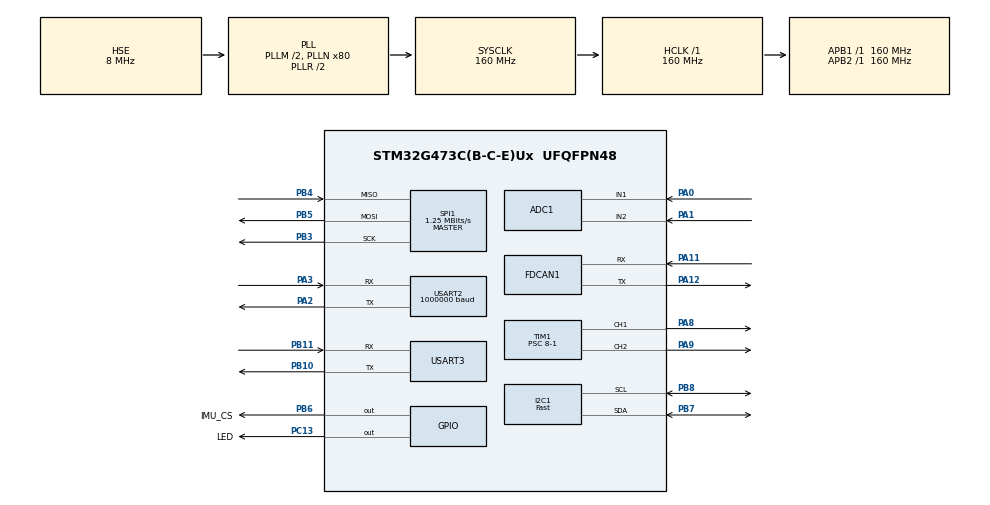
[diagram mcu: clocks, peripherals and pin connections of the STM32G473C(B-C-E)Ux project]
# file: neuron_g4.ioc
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ADC1.Channel-0\#ChannelRegularConversion=ADC_CHANNEL_1
ADC1.NbrOfConversionFlag=1
ADC1.OffsetNumber-0\#ChannelRegularConversion=ADC_OFFSET_NONE
ADC1.Rank-0\#ChannelRegularConversion=1
ADC1.SamplingTime-0\#ChannelRegularConversion=ADC_SAMPLETIME_2CYCLES_5
ADC1.master=1
Dma.Request0=USART2_RX
Dma.USART2_RX.0.Direction=DMA_PERIPH_TO_MEMORY
Dma.USART2_RX.0.EventEnable=DISABLE
Dma.USART2_RX.0.Instance=DMA1_Channel1
Dma.USART2_RX.0.MemDataAlignment=DMA_MDATAALIGN_BYTE
Dma.USART2_RX.0.MemInc=DMA_MINC_ENABLE
Dma.USART2_RX.0.Mode=DMA_CIRCULAR
Dma.USART2_RX.0.PeriphDataAlignment=DMA_PDATAALIGN_BYTE
Dma.USART2_RX.0.PeriphInc=DMA_PINC_DISABLE
Dma.USART2_RX.0.Polarity=HAL_DMAMUX_REQ_GEN_RISING
Dma.USART2_RX.0.Priority=DMA_PRIORITY_VERY_HIGH
Dma.USART2_RX.0.RequestNumber=1
Dma.USART2_RX.0.SignalID=NONE
Dma.USART2_RX.0.SyncEnable=DISABLE
Dma.USART2_RX.0.SyncPolarity=HAL_DMAMUX_SYNC_NO_EVENT
Dma.USART2_RX.0.SyncRequestNumber=1
Dma.USART2_RX.0.SyncSignalID=NONE
FDCAN1.AutoRetransmission=ENABLE
FDCAN1.DataSyncJumpWidth=2
FDCAN1.DataTimeSeg1=7
FDCAN1.DataTimeSeg2=2
FDCAN1.FrameFormat=FDCAN_FRAME_FD_BRS
FDCAN1.NominalSyncJumpWidth=16
FDCAN1.NominalTimeSeg1=63
FDCAN1.NominalTimeSeg2=16
FDCAN1.StdFiltersNbr=2
FREERTOS.BinarySemaphores01=coreTaskSem,Dynamic,NULL;canTxSem,Dynamic,NULL
FREERTOS.MEMORY_ALLOCATION=2
FREERTOS.Mutexes01=servoMutex,Dynamic,NULL
FREERTOS.Tasks01=idleTask,-3,128,idleTaskCallback,Default,NULL,Dynamic,NULL,NULL;servoTask,2,512,servoTaskCallback,Default,NULL,Dynamic,NULL,NULL;coreTask,3,256,coreTaskCallback,Default,NULL,Dynamic,NULL,NULL;canRxTask,3,256,canRxCallback,As weak,NULL,Dynamic,NULL,NULL;canTxTask,1,128,canTxCallback,Default,NULL,Dynamic,NULL,NULL
FREERTOS.Timers01=coreTimer,coreEvokeCallback,osTimerPeriodic,Default,NULL,Dynamic,NULL
FREERTOS.configTIMER_TASK_PRIORITY=6
FREERTOS.configTOTAL_HEAP_SIZE=15360
FREERTOS.configUSE_TIMERS=1
I2C1.I2C_Fall_Time=100
I2C1.I2C_Rise_Time=250
I2C1.I2C_Speed_Mode=I2C_Fast
I2C1.Timing=0x30D2153A
Mcu.Family=STM32G4
Mcu.Name=STM32G473C(B-C-E)Ux
Mcu.Package=UFQFPN48
NVIC.DMA1_Channel1_IRQn=true\:5\:0\:false\:false\:true\:true\:false\:true
NVIC.FDCAN1_IT0_IRQn=true\:5\:0\:false\:false\:true\:true\:true\:true
NVIC.PriorityGroup=NVIC_PRIORITYGROUP_4
NVIC.TIM8_UP_IRQn=true\:15\:0\:false\:false\:true\:false\:false\:true
NVIC.TimeBase=TIM8_UP_IRQn
NVIC.TimeBaseIP=TIM8
PA0.Mode=IN1-Single-Ended
PA0.Signal=ADC1_IN1
PA1.Mode=IN2-Single-Ended
PA1.Signal=ADC1_IN2
PA11.Mode=FDCAN_Activate
PA11.Signal=FDCAN1_RX
PA12.Mode=FDCAN_Activate
PA12.Signal=FDCAN1_TX
PA13.Mode=Serial_Wire
PA13.Signal=SYS_JTMS-SWDIO
PA14.Mode=Serial_Wire
PA14.Signal=SYS_JTCK-SWCLK
PA2.Mode=Asynchronous
PA2.Signal=USART2_TX
PA3.Mode=Asynchronous
PA3.Signal=USART2_RX
PA8.Signal=S_TIM1_CH1
PA9.Signal=S_TIM1_CH2
PB10.Mode=Asynchronous
PB10.Signal=USART3_TX
PB11.Mode=Asynchronous
PB11.Signal=USART3_RX
PB3.GPIO_Speed=GPIO_SPEED_FREQ_HIGH
PB3.Mode=Full_Duplex_Master
PB3.Signal=SPI1_SCK
PB4.GPIO_Speed=GPIO_SPEED_FREQ_HIGH
PB4.Mode=Full_Duplex_Master
PB4.Signal=SPI1_MISO
PB5.GPIO_Speed=GPIO_SPEED_FREQ_HIGH
PB5.Mode=Full_Duplex_Master
PB5.Signal=SPI1_MOSI
PB6.GPIO_Label=IMU_CS
PB6.GPIO_Speed=GPIO_SPEED_FREQ_HIGH
PB6.Signal=GPIO_Output
PB7.GPIO_Pu=GPIO_PULLUP
PB7.Mode=I2C
PB7.Signal=I2C1_SDA
PB8-BOOT0.GPIO_Pu=GPIO_PULLUP
PB8-BOOT0.Mode=I2C
PB8-BOOT0.Signal=I2C1_SCL
PC13.GPIO_Label=LED
PC13.Signal=GPIO_Output
PF0-OSC_IN.Mode=HSE-External-Oscillator
PF0-OSC_IN.Signal=RCC_OSC_IN
PF1-OSC_OUT.Mode=HSE-External-Oscillator
PF1-OSC_OUT.Signal=RCC_OSC_OUT
ProjectManager.HeapSize=0x200
ProjectManager.StackSize=0x400
ProjectManager.TargetToolchain=STM32CubeIDE
RCC.ADC12Freq_Value=160000000
RCC.ADC345Freq_Value=160000000
RCC.AHBFreq_Value=160000000
RCC.APB1Freq_Value=160000000
RCC.APB1TimFreq_Value=160000000
RCC.APB2Freq_Value=160000000
RCC.APB2TimFreq_Value=160000000
RCC.CortexFreq_Value=160000000
RCC.EXTERNAL_CLOCK_VALUE=12288000
RCC.FDCANCLockSelection=RCC_FDCANCLKSOURCE_PLL
RCC.HCLKFreq_Value=160000000
RCC.HSE_VALUE=8000000
RCC.HSI48_VALUE=48000000
RCC.HSI_VALUE=16000000
RCC.LSE_VALUE=32768
RCC.PLLM=RCC_PLLM_DIV2
RCC.PLLN=80
RCC.PLLQ=RCC_PLLQ_DIV4
RCC.PLLSourceVirtual=RCC_PLLSOURCE_HSE
RCC.SYSCLKFreq_VALUE=160000000
RCC.SYSCLKSource=RCC_SYSCLKSOURCE_PLLCLK
RCC.USBFreq_Value=80000000
RCC.VCOOutputFreq_Value=320000000
SH.S_TIM1_CH1.0=TIM1_CH1,PWM Generation1 CH1
SH.S_TIM1_CH2.0=TIM1_CH2,PWM Generation2 CH2
SPI1.BaudRatePrescaler=SPI_BAUDRATEPRESCALER_128
SPI1.CalculateBaudRate=1.25 MBits/s
SPI1.DataSize=SPI_DATASIZE_8BIT
SPI1.Direction=SPI_DIRECTION_2LINES
SPI1.Mode=SPI_MODE_MASTER
SPI1.VirtualType=VM_MASTER
TIM1.Channel-PWM\ Generation1\ CH1=TIM_CHANNEL_1
TIM1.Channel-PWM\ Generation2\ CH2=TIM_CHANNEL_2
TIM1.PeriodNoDither=40000-1
TIM1.Prescaler=8-1
TIM1.PulseNoDither_1=20000
TIM1.PulseNoDither_2=20000
USART2.BaudRate=1000000
USART2.VirtualMode-Asynchronous=VM_ASYNC
USART3.VirtualMode-Asynchronous=VM_ASYNC
VP_FREERTOS_VS_CMSIS_V1.Mode=CMSIS_V1
VP_SYS_VS_DBSignals.Mode=DisableDeadBatterySignals
VP_SYS_VS_tim8.Mode=TIM8
VP_TIM1_VS_ClockSourceINT.Mode=Internal
board=custom

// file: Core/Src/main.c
/* USER CODE BEGIN Header */
/**
  ******************************************************************************
  * @file           : main.c
  * @brief          : Main program body
  ******************************************************************************
  * @attention
  *
  * Copyright (c) 2023 STMicroelectronics.
  * All rights reserved.
  *
  * This software is licensed under terms that can be found in the LICENSE file
  * in the root directory of this software component.
  * If no LICENSE file comes with this software, it is provided AS-IS.
  *
  ******************************************************************************
  */
/* USER CODE END Header */
#include "main.h"
#include "cmsis_os.h"

/* USER CODE BEGIN Includes */
#include "CAN/can_device_manager.h"
#include "Flashmemory/flashmemory.h"
#include "IMU/imu_mpu9250.h"
#include "Initializer/initializer.h"
#include "Motor/motor.h"
#include "Servo/servo.h"
/* USER CODE END Includes */

ADC_HandleTypeDef hadc1;

FDCAN_HandleTypeDef hfdcan1;

I2C_HandleTypeDef hi2c1;

SPI_HandleTypeDef hspi1;

TIM_HandleTypeDef htim1;

UART_HandleTypeDef huart2;
UART_HandleTypeDef huart3;
DMA_HandleTypeDef hdma_usart2_rx;

osThreadId idleTaskHandle;
osThreadId servoTaskHandle;
osThreadId coreTaskHandle;
osThreadId canRxTaskHandle;
osThreadId canTxTaskHandle;
osTimerId coreTimerHandle;
osMutexId servoMutexHandle;
osSemaphoreId coreTaskSemHandle;
osSemaphoreId canTxSemHandle;
/* USER CODE BEGIN PV */
osMailQId canMsgMailHandle;

IMU imu_;
Motor motor_;
Servo servo_;
Initializer* initializer_ = nullptr;
/* Set by coreTask every 1000 / servo_feedback_frequency ms; IMU/rotor states
   follow it independently of whether any servo is connected. */
volatile bool core_feedback_due_ = false;
uint16_t core_feedback_count_ = 0;
/* USER CODE END PV */

void SystemClock_Config(void);
static void MX_GPIO_Init(void);
static void MX_DMA_Init(void);
static void MX_ADC1_Init(void);
static void MX_FDCAN1_Init(void);
static void MX_I2C1_Init(void);
static void MX_SPI1_Init(void);
static void MX_USART2_UART_Init(void);
static void MX_USART3_UART_Init(void);
static void MX_TIM1_Init(void);
void idleTaskCallback(void const * argument);
void servoTaskCallback(void const * argument);
void coreTaskCallback(void const * argument);
void canRxCallback(void const * argument);
void canTxCallback(void const * argument);
void coreEvokeCallback(void const * argument);

int main(void)
{

  /* MCU Configuration--------------------------------------------------------*/

  /* Reset of all peripherals, Initializes the Flash interface and the Systick. */
  HAL_Init();

  /* Configure the system clock */
  SystemClock_Config();

  /* Initialize all configured peripherals */
  MX_GPIO_Init();
  MX_DMA_Init();
  MX_ADC1_Init();
  MX_FDCAN1_Init();
  MX_I2C1_Init();
  MX_SPI1_Init();
  MX_USART2_UART_Init();
  MX_USART3_UART_Init();
  MX_TIM1_Init();
  /* USER CODE BEGIN 2 */
  HAL_NVIC_DisableIRQ(DMA1_Channel1_IRQn);
  Flashmemory::init(0x0807F000, FLASH_BANK_1, 127); //last page in bank1

  // flashmemory test
#if 0
#if 0 // write
  uint8_t test[10];
  for(int i = 0; i < 10; i++) {
    test[i] = i;
  }
  Flashmemory::addValue(test, 10);

  float a = -3.1415926f;
  Flashmemory::addValue(&a, 4);

  int16_t b = 12345;
  Flashmemory::addValue(&b, 2);

  bool c = false;
  Flashmemory::addValue(&c, 1);

  Flashmemory::erase();
  Flashmemory::write();
#else // read

  uint8_t test[10];
  Flashmemory::addValue(test, 10);

  float a;
  Flashmemory::addValue(&a, 4);

  int16_t b;
  Flashmemory::addValue(&b, 2);

  bool c;
  Flashmemory::addValue(&c, 1);

  Flashmemory::read();

#endif
#endif

  uint16_t slave_id = 0;
  Flashmemory::addValue(&slave_id, 2);
  /* workaround to definitely read the value for salve_id from flashmemory, because some problem in RTOS system in init system (because of std::vector?) */
  int cnt = 10; // In fact, only need twice, 10 times is just in case.
  while(cnt > 0)
    {
      HAL_StatusTypeDef status = Flashmemory::read();
      if(status == HAL_OK) break;
      cnt --;
    }

  if (slave_id == 0 || slave_id > 14) {
    slave_id = 1;
    Flashmemory::erase();
    Flashmemory::write();
    return 0;
  }

  motor_ = Motor(slave_id);
  imu_ = IMU(slave_id);
  servo_ = Servo(slave_id);

  Initializer initializer(slave_id, servo_, imu_, motor_);
  initializer_ = &initializer;

  imu_.init(&hspi1);
  motor_.init(&htim1);
  HAL_Delay(300); //wait servo init
  servo_.init(&huart2, &hi2c1, &servoMutexHandle);

  CANDeviceManager::init(&hfdcan1, slave_id, GPIOC, GPIO_PIN_13);
  CANDeviceManager::addDevice(&motor_);
  CANDeviceManager::addDevice(&imu_);
  CANDeviceManager::addDevice(&servo_);
  CANDeviceManager::addDevice(&initializer);

  /* USER CODE END 2 */

  /* Create the mutex(es) */
  /* definition and creation of servoMutex */
  osMutexDef(servoMutex);
  servoMutexHandle = osMutexCreate(osMutex(servoMutex));

  /* Create the semaphores(s) */
  /* definition and creation of coreTaskSem */
  osSemaphoreDef(coreTaskSem);
  coreTaskSemHandle = osSemaphoreCreate(osSemaphore(coreTaskSem), 1);

  /* definition and creation of canTxSem */
  osSemaphoreDef(canTxSem);
  canTxSemHandle = osSemaphoreCreate(osSemaphore(canTxSem), 1);

  /* Create the timer(s) */
  /* definition and creation of coreTimer */
  osTimerDef(coreTimer, coreEvokeCallback);
  coreTimerHandle = osTimerCreate(osTimer(coreTimer), osTimerPeriodic, NULL);

  /* USER CODE BEGIN RTOS_TIMERS */
  /* start timers, add new ones, ... */
  osTimerStart(coreTimerHandle, 1); // 1 ms (1kHz)
  /* USER CODE END RTOS_TIMERS */

  /* USER CODE BEGIN RTOS_QUEUES */
  /* add queues, ... */
  /* add mail queue for CAN RX */
  osMailQDef(CanMail, 20, can_msg); // this is for the margin set for spinal: initializer sendBoardConfig (4 servo: 1 + 4 x 3 = 13 packets -> 20)
  canMsgMailHandle = osMailCreate(osMailQ(CanMail), NULL);
  CANDeviceManager::useRTOS(&canMsgMailHandle);
  /* USER CODE END RTOS_QUEUES */

  /* Create the thread(s) */
  /* definition and creation of idleTask */
  osThreadDef(idleTask, idleTaskCallback, osPriorityIdle, 0, 128);
  idleTaskHandle = osThreadCreate(osThread(idleTask), NULL);

  /* definition and creation of servoTask */
  osThreadDef(servoTask, servoTaskCallback, osPriorityHigh, 0, 512);
  servoTaskHandle = osThreadCreate(osThread(servoTask), NULL);

  /* definition and creation of coreTask */
  osThreadDef(coreTask, coreTaskCallback, osPriorityRealtime, 0, 256);
  coreTaskHandle = osThreadCreate(osThread(coreTask), NULL);

  /* definition and creation of canRxTask */
  osThreadDef(canRxTask, canRxCallback, osPriorityRealtime, 0, 256);
  canRxTaskHandle = osThreadCreate(osThread(canRxTask), NULL);

  /* definition and creation of canTxTask */
  osThreadDef(canTxTask, canTxCallback, osPriorityAboveNormal, 0, 128);
  canTxTaskHandle = osThreadCreate(osThread(canTxTask), NULL);

  /* Start scheduler */
  osKernelStart();

  /* We should never get here as control is now taken by the scheduler */
  /* Infinite loop */
  while (1)
  {

    /* USER CODE BEGIN 3 */
     HAL_Delay(1000);
     HAL_GPIO_TogglePin(LED_GPIO_Port, LED_Pin);
  }
  /* USER CODE END 3 */
}

void SystemClock_Config(void)
{
  RCC_OscInitTypeDef RCC_OscInitStruct = {0};
  RCC_ClkInitTypeDef RCC_ClkInitStruct = {0};

  /** Configure the main internal regulator output voltage
  */
  HAL_PWREx_ControlVoltageScaling(PWR_REGULATOR_VOLTAGE_SCALE1_BOOST);
  /** Initializes the RCC Oscillators according to the specified parameters
  * in the RCC_OscInitTypeDef structure.
  */
  RCC_OscInitStruct.OscillatorType = RCC_OSCILLATORTYPE_HSE;
  RCC_OscInitStruct.HSEState = RCC_HSE_ON;
  RCC_OscInitStruct.PLL.PLLState = RCC_PLL_ON;
  RCC_OscInitStruct.PLL.PLLSource = RCC_PLLSOURCE_HSE;
  RCC_OscInitStruct.PLL.PLLM = RCC_PLLM_DIV2;
  RCC_OscInitStruct.PLL.PLLN = 80;
  RCC_OscInitStruct.PLL.PLLP = RCC_PLLP_DIV2;
  RCC_OscInitStruct.PLL.PLLQ = RCC_PLLQ_DIV4;
  RCC_OscInitStruct.PLL.PLLR = RCC_PLLR_DIV2;
  if (HAL_RCC_OscConfig(&RCC_OscInitStruct) != HAL_OK)
  {
    Error_Handler();
  }
  /** Initializes the CPU, AHB and APB buses clocks
  */
  RCC_ClkInitStruct.ClockType = RCC_CLOCKTYPE_HCLK|RCC_CLOCKTYPE_SYSCLK
                              |RCC_CLOCKTYPE_PCLK1|RCC_CLOCKTYPE_PCLK2;
  RCC_ClkInitStruct.SYSCLKSource = RCC_SYSCLKSOURCE_PLLCLK;
  RCC_ClkInitStruct.AHBCLKDivider = RCC_SYSCLK_DIV1;
  RCC_ClkInitStruct.APB1CLKDivider = RCC_HCLK_DIV1;
  RCC_ClkInitStruct.APB2CLKDivider = RCC_HCLK_DIV1;

  if (HAL_RCC_ClockConfig(&RCC_ClkInitStruct, FLASH_LATENCY_4) != HAL_OK)
  {
    Error_Handler();
  }
}

static void MX_ADC1_Init(void)
{

  ADC_MultiModeTypeDef multimode = {0};
  ADC_ChannelConfTypeDef sConfig = {0};

  /** Common config
  */
  hadc1.Instance = ADC1;
  hadc1.Init.ClockPrescaler = ADC_CLOCK_SYNC_PCLK_DIV4;
  hadc1.Init.Resolution = ADC_RESOLUTION_12B;
  hadc1.Init.DataAlign = ADC_DATAALIGN_RIGHT;
  hadc1.Init.GainCompensation = 0;
  hadc1.Init.ScanConvMode = ADC_SCAN_DISABLE;
  hadc1.Init.EOCSelection = ADC_EOC_SINGLE_CONV;
  hadc1.Init.LowPowerAutoWait = DISABLE;
  hadc1.Init.ContinuousConvMode = DISABLE;
  hadc1.Init.NbrOfConversion = 1;
  hadc1.Init.DiscontinuousConvMode = DISABLE;
  hadc1.Init.ExternalTrigConv = ADC_SOFTWARE_START;
  hadc1.Init.ExternalTrigConvEdge = ADC_EXTERNALTRIGCONVEDGE_NONE;
  hadc1.Init.DMAContinuousRequests = DISABLE;
  hadc1.Init.Overrun = ADC_OVR_DATA_PRESERVED;
  hadc1.Init.OversamplingMode = DISABLE;
  if (HAL_ADC_Init(&hadc1) != HAL_OK)
  {
    Error_Handler();
  }
  /** Configure the ADC multi-mode
  */
  multimode.Mode = ADC_MODE_INDEPENDENT;
  if (HAL_ADCEx_MultiModeConfigChannel(&hadc1, &multimode) != HAL_OK)
  {
    Error_Handler();
  }
  /** Configure Regular Channel
  */
  sConfig.Channel = ADC_CHANNEL_1;
  sConfig.Rank = ADC_REGULAR_RANK_1;
  sConfig.SamplingTime = ADC_SAMPLETIME_2CYCLES_5;
  sConfig.SingleDiff = ADC_SINGLE_ENDED;
  sConfig.OffsetNumber = ADC_OFFSET_NONE;
  sConfig.Offset = 0;
  if (HAL_ADC_ConfigChannel(&hadc1, &sConfig) != HAL_OK)
  {
    Error_Handler();
  }

}

static void MX_FDCAN1_Init(void)
{

  hfdcan1.Instance = FDCAN1;
  hfdcan1.Init.ClockDivider = FDCAN_CLOCK_DIV1;
  hfdcan1.Init.FrameFormat = FDCAN_FRAME_FD_BRS;
  hfdcan1.Init.Mode = FDCAN_MODE_NORMAL;
  hfdcan1.Init.AutoRetransmission = ENABLE;
  hfdcan1.Init.TransmitPause = DISABLE;
  hfdcan1.Init.ProtocolException = DISABLE;
  hfdcan1.Init.NominalPrescaler = 1;
  hfdcan1.Init.NominalSyncJumpWidth = 16;
  hfdcan1.Init.NominalTimeSeg1 = 63;
  hfdcan1.Init.NominalTimeSeg2 = 16;
  hfdcan1.Init.DataPrescaler = 1;
  hfdcan1.Init.DataSyncJumpWidth = 2;
  hfdcan1.Init.DataTimeSeg1 = 7;
  hfdcan1.Init.DataTimeSeg2 = 2;
  hfdcan1.Init.StdFiltersNbr = 2;
  hfdcan1.Init.ExtFiltersNbr = 0;
  hfdcan1.Init.TxFifoQueueMode = FDCAN_TX_FIFO_OPERATION;
  if (HAL_FDCAN_Init(&hfdcan1) != HAL_OK)
  {
    Error_Handler();
  }

}

static void MX_I2C1_Init(void)
{

  hi2c1.Instance = I2C1;
  hi2c1.Init.Timing = 0x30D2153A;
  hi2c1.Init.OwnAddress1 = 0;
  hi2c1.Init.AddressingMode = I2C_ADDRESSINGMODE_7BIT;
  hi2c1.Init.DualAddressMode = I2C_DUALADDRESS_DISABLE;
  hi2c1.Init.OwnAddress2 = 0;
  hi2c1.Init.OwnAddress2Masks = I2C_OA2_NOMASK;
  hi2c1.Init.GeneralCallMode = I2C_GENERALCALL_DISABLE;
  hi2c1.Init.NoStretchMode = I2C_NOSTRETCH_DISABLE;
  if (HAL_I2C_Init(&hi2c1) != HAL_OK)
  {
    Error_Handler();
  }
  /** Configure Analogue filter
  */
  if (HAL_I2CEx_ConfigAnalogFilter(&hi2c1, I2C_ANALOGFILTER_ENABLE) != HAL_OK)
  {
    Error_Handler();
  }
  /** Configure Digital filter
  */
  if (HAL_I2CEx_ConfigDigitalFilter(&hi2c1, 0) != HAL_OK)
  {
    Error_Handler();
  }

}

static void MX_SPI1_Init(void)
{

  /* SPI1 parameter configuration*/
  hspi1.Instance = SPI1;
  hspi1.Init.Mode = SPI_MODE_MASTER;
  hspi1.Init.Direction = SPI_DIRECTION_2LINES;
  hspi1.Init.DataSize = SPI_DATASIZE_8BIT;
  hspi1.Init.CLKPolarity = SPI_POLARITY_LOW;
  hspi1.Init.CLKPhase = SPI_PHASE_1EDGE;
  hspi1.Init.NSS = SPI_NSS_SOFT;
  hspi1.Init.BaudRatePrescaler = SPI_BAUDRATEPRESCALER_128;
  hspi1.Init.FirstBit = SPI_FIRSTBIT_MSB;
  hspi1.Init.TIMode = SPI_TIMODE_DISABLE;
  hspi1.Init.CRCCalculation = SPI_CRCCALCULATION_DISABLE;
  hspi1.Init.CRCPolynomial = 7;
  hspi1.Init.CRCLength = SPI_CRC_LENGTH_DATASIZE;
  hspi1.Init.NSSPMode = SPI_NSS_PULSE_ENABLE;
  if (HAL_SPI_Init(&hspi1) != HAL_OK)
  {
    Error_Handler();
  }

}

static void MX_TIM1_Init(void)
{

  TIM_ClockConfigTypeDef sClockSourceConfig = {0};
  TIM_MasterConfigTypeDef sMasterConfig = {0};
  TIM_OC_InitTypeDef sConfigOC = {0};
  TIM_BreakDeadTimeConfigTypeDef sBreakDeadTimeConfig = {0};

  htim1.Instance = TIM1;
  htim1.Init.Prescaler = 8-1;
  htim1.Init.CounterMode = TIM_COUNTERMODE_UP;
  htim1.Init.Period = 39999;
  htim1.Init.ClockDivision = TIM_CLOCKDIVISION_DIV1;
  htim1.Init.RepetitionCounter = 0;
  htim1.Init.AutoReloadPreload = TIM_AUTORELOAD_PRELOAD_DISABLE;
  if (HAL_TIM_Base_Init(&htim1) != HAL_OK)
  {
    Error_Handler();
  }
  sClockSourceConfig.ClockSource = TIM_CLOCKSOURCE_INTERNAL;
  if (HAL_TIM_ConfigClockSource(&htim1, &sClockSourceConfig) != HAL_OK)
  {
    Error_Handler();
  }
  if (HAL_TIM_PWM_Init(&htim1) != HAL_OK)
  {
    Error_Handler();
  }
  sMasterConfig.MasterOutputTrigger = TIM_TRGO_RESET;
  sMasterConfig.MasterOutputTrigger2 = TIM_TRGO2_RESET;
  sMasterConfig.MasterSlaveMode = TIM_MASTERSLAVEMODE_DISABLE;
  if (HAL_TIMEx_MasterConfigSynchronization(&htim1, &sMasterConfig) != HAL_OK)
  {
    Error_Handler();
  }
  sConfigOC.OCMode = TIM_OCMODE_PWM1;
  sConfigOC.Pulse = 20000;
  sConfigOC.OCPolarity = TIM_OCPOLARITY_HIGH;
  sConfigOC.OCNPolarity = TIM_OCNPOLARITY_HIGH;
  sConfigOC.OCFastMode = TIM_OCFAST_DISABLE;
  sConfigOC.OCIdleState = TIM_OCIDLESTATE_RESET;
  sConfigOC.OCNIdleState = TIM_OCNIDLESTATE_RESET;
  if (HAL_TIM_PWM_ConfigChannel(&htim1, &sConfigOC, TIM_CHANNEL_1) != HAL_OK)
  {
    Error_Handler();
  }
  if (HAL_TIM_PWM_ConfigChannel(&htim1, &sConfigOC, TIM_CHANNEL_2) != HAL_OK)
  {
    Error_Handler();
  }
  sBreakDeadTimeConfig.OffStateRunMode = TIM_OSSR_DISABLE;
  sBreakDeadTimeConfig.OffStateIDLEMode = TIM_OSSI_DISABLE;
  sBreakDeadTimeConfig.LockLevel = TIM_LOCKLEVEL_OFF;
  sBreakDeadTimeConfig.DeadTime = 0;
  sBreakDeadTimeConfig.BreakState = TIM_BREAK_DISABLE;
  sBreakDeadTimeConfig.BreakPolarity = TIM_BREAKPOLARITY_HIGH;
  sBreakDeadTimeConfig.BreakFilter = 0;
  sBreakDeadTimeConfig.BreakAFMode = TIM_BREAK_AFMODE_INPUT;
  sBreakDeadTimeConfig.Break2State = TIM_BREAK2_DISABLE;
  sBreakDeadTimeConfig.Break2Polarity = TIM_BREAK2POLARITY_HIGH;
  sBreakDeadTimeConfig.Break2Filter = 0;
  sBreakDeadTimeConfig.Break2AFMode = TIM_BREAK_AFMODE_INPUT;
  sBreakDeadTimeConfig.AutomaticOutput = TIM_AUTOMATICOUTPUT_DISABLE;
  if (HAL_TIMEx_ConfigBreakDeadTime(&htim1, &sBreakDeadTimeConfig) != HAL_OK)
  {
    Error_Handler();
  }
  HAL_TIM_MspPostInit(&htim1);

}

static void MX_USART2_UART_Init(void)
{

  huart2.Instance = USART2;
  huart2.Init.BaudRate = 1000000;
  huart2.Init.WordLength = UART_WORDLENGTH_8B;
  huart2.Init.StopBits = UART_STOPBITS_1;
  huart2.Init.Parity = UART_PARITY_NONE;
  huart2.Init.Mode = UART_MODE_TX_RX;
  huart2.Init.HwFlowCtl = UART_HWCONTROL_NONE;
  huart2.Init.OverSampling = UART_OVERSAMPLING_16;
  huart2.Init.OneBitSampling = UART_ONE_BIT_SAMPLE_DISABLE;
  huart2.Init.ClockPrescaler = UART_PRESCALER_DIV1;
  huart2.AdvancedInit.AdvFeatureInit = UART_ADVFEATURE_NO_INIT;
  if (HAL_UART_Init(&huart2) != HAL_OK)
  {
    Error_Handler();
  }
  if (HAL_UARTEx_SetTxFifoThreshold(&huart2, UART_TXFIFO_THRESHOLD_1_8) != HAL_OK)
  {
    Error_Handler();
  }
  if (HAL_UARTEx_SetRxFifoThreshold(&huart2, UART_RXFIFO_THRESHOLD_1_8) != HAL_OK)
  {
    Error_Handler();
  }
  if (HAL_UARTEx_DisableFifoMode(&huart2) != HAL_OK)
  {
    Error_Handler();
  }

}

static void MX_USART3_UART_Init(void)
{

  huart3.Instance = USART3;
  huart3.Init.BaudRate = 115200;
  huart3.Init.WordLength = UART_WORDLENGTH_8B;
  huart3.Init.StopBits = UART_STOPBITS_1;
  huart3.Init.Parity = UART_PARITY_NONE;
  huart3.Init.Mode = UART_MODE_TX_RX;
  huart3.Init.HwFlowCtl = UART_HWCONTROL_NONE;
  huart3.Init.OverSampling = UART_OVERSAMPLING_16;
  huart3.Init.OneBitSampling = UART_ONE_BIT_SAMPLE_DISABLE;
  huart3.Init.ClockPrescaler = UART_PRESCALER_DIV1;
  huart3.AdvancedInit.AdvFeatureInit = UART_ADVFEATURE_NO_INIT;
  if (HAL_UART_Init(&huart3) != HAL_OK)
  {
    Error_Handler();
  }
  if (HAL_UARTEx_SetTxFifoThreshold(&huart3, UART_TXFIFO_THRESHOLD_1_8) != HAL_OK)
  {
    Error_Handler();
  }
  if (HAL_UARTEx_SetRxFifoThreshold(&huart3, UART_RXFIFO_THRESHOLD_1_8) != HAL_OK)
  {
    Error_Handler();
  }
  if (HAL_UARTEx_DisableFifoMode(&huart3) != HAL_OK)
  {
    Error_Handler();
  }

}

static void MX_DMA_Init(void)
{

  /* DMA controller clock enable */
  __HAL_RCC_DMAMUX1_CLK_ENABLE();
  __HAL_RCC_DMA1_CLK_ENABLE();

  /* DMA interrupt init */
  /* DMA1_Channel1_IRQn interrupt configuration */
  HAL_NVIC_SetPriority(DMA1_Channel1_IRQn, 5, 0);
  HAL_NVIC_EnableIRQ(DMA1_Channel1_IRQn);

}

static void MX_GPIO_Init(void)
{
  GPIO_InitTypeDef GPIO_InitStruct = {0};

  /* GPIO Ports Clock Enable */
  __HAL_RCC_GPIOC_CLK_ENABLE();
  __HAL_RCC_GPIOF_CLK_ENABLE();
  __HAL_RCC_GPIOA_CLK_ENABLE();
  __HAL_RCC_GPIOB_CLK_ENABLE();

  /*Configure GPIO pin Output Level */
  HAL_GPIO_WritePin(LED_GPIO_Port, LED_Pin, GPIO_PIN_RESET);

  /*Configure GPIO pin Output Level */
  HAL_GPIO_WritePin(IMU_CS_GPIO_Port, IMU_CS_Pin, GPIO_PIN_RESET);

  /*Configure GPIO pin : LED_Pin */
  GPIO_InitStruct.Pin = LED_Pin;
  GPIO_InitStruct.Mode = GPIO_MODE_OUTPUT_PP;
  GPIO_InitStruct.Pull = GPIO_NOPULL;
  GPIO_InitStruct.Speed = GPIO_SPEED_FREQ_LOW;
  HAL_GPIO_Init(LED_GPIO_Port, &GPIO_InitStruct);

  /*Configure GPIO pin : IMU_CS_Pin */
  GPIO_InitStruct.Pin = IMU_CS_Pin;
  GPIO_InitStruct.Mode = GPIO_MODE_OUTPUT_PP;
  GPIO_InitStruct.Pull = GPIO_NOPULL;
  GPIO_InitStruct.Speed = GPIO_SPEED_FREQ_HIGH;
  HAL_GPIO_Init(IMU_CS_GPIO_Port, &GPIO_InitStruct);

}

/* USER CODE BEGIN 4 */
/* USER CODE BEGIN 0 */

/* canTxTask is woken by servoTask (servo states) and coreTask (IMU/rotor
   states), both at servo_feedback_frequency. Received targets do not wake it. */

/* USER CODE END 4 */

void idleTaskCallback(void const * argument)
{
  /* USER CODE BEGIN 5 */
  /* Infinite loop */
  for(;;)
  {
    // HAL_GPIO_TogglePin(LED_GPIO_Port, LED_Pin);
    osDelay(1000);
  }
  /* USER CODE END 5 */
}

void servoTaskCallback(void const * argument)
{
  /* USER CODE BEGIN servoTaskCallback */
  /* Infinite loop */
  for(;;)
  {
    if (servo_.update())
      osSemaphoreRelease(canTxSemHandle);
    osDelay(1);
  }
  /* USER CODE END servoTaskCallback */
}

void coreTaskCallback(void const * argument)
{
  /* USER CODE BEGIN coreTaskCallback */
  /* Infinite loop */
  for(;;)
  {
    // RTOS semephre
    osSemaphoreWait(coreTaskSemHandle, osWaitForever);

    CANDeviceManager::tick(1);
    initializer_->sendData();
    motor_.update();
    imu_.update();

    const uint16_t feedback_frequency = servo_.getFeedbackFrequency();
    if (feedback_frequency != 0 &&
        ++core_feedback_count_ >= (1000U + feedback_frequency - 1U) / feedback_frequency) {
      core_feedback_count_ = 0;
      __atomic_store_n(&core_feedback_due_, true, __ATOMIC_RELEASE);
      osSemaphoreRelease(canTxSemHandle);
    }
  }
  /* USER CODE END coreTaskCallback */
}

__weak void canRxCallback(void const * argument)
{
  for(;;)
    {
      osDelay(1);
  }
}

void canTxCallback(void const * argument)
{
  /* USER CODE BEGIN canTxCallback */
  /* The CMSIS v1 binary semaphore is created full. Drain its initial token
     only after the scheduler has started. */
  (void)osSemaphoreWait(canTxSemHandle, 0);

  /* Infinite loop */
  for(;;)
  {
    // RTOS semephre
    osSemaphoreWait(canTxSemHandle, osWaitForever);

    servo_.sendData();
    if (__atomic_exchange_n(&core_feedback_due_, false, __ATOMIC_ACQ_REL)) {
      imu_.sendData();
      motor_.sendData();
    }
  }
  /* USER CODE END canTxCallback */
}

/* coreEvokeCallback function */
void coreEvokeCallback(void const * argument)
{
  /* USER CODE BEGIN coreEvokeCallback */
  /*
    We need to create another indipendent task to run the core function (following coreTask).
    since block action in timer callback function is not allowed.
  */
  osSemaphoreRelease(coreTaskSemHandle);
  /* USER CODE END coreEvokeCallback */
}

void HAL_TIM_PeriodElapsedCallback(TIM_HandleTypeDef *htim)
{
  if (htim->Instance == TIM8) {
    HAL_IncTick();
  }
}

void Error_Handler(void)
{
  __disable_irq();
  while (1)
  {
  }
}

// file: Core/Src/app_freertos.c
/* USER CODE BEGIN Header */
/**
  ******************************************************************************
  * File Name          : app_freertos.c
  * Description        : Code for freertos applications
  ******************************************************************************
  * @attention
  *
  * Copyright (c) 2023 STMicroelectronics.
  * All rights reserved.
  *
  * This software is licensed under terms that can be found in the LICENSE file
  * in the root directory of this software component.
  * If no LICENSE file comes with this software, it is provided AS-IS.
  *
  ******************************************************************************
  */
/* USER CODE END Header */

#include "FreeRTOS.h"
#include "task.h"
#include "main.h"

/* GetIdleTaskMemory prototype (linked to static allocation support) */
void vApplicationGetIdleTaskMemory( StaticTask_t **ppxIdleTaskTCBBuffer, StackType_t **ppxIdleTaskStackBuffer, uint32_t *pulIdleTaskStackSize );

/* GetTimerTaskMemory prototype (linked to static allocation support) */
void vApplicationGetTimerTaskMemory( StaticTask_t **ppxTimerTaskTCBBuffer, StackType_t **ppxTimerTaskStackBuffer, uint32_t *pulTimerTaskStackSize );

/* USER CODE BEGIN GET_IDLE_TASK_MEMORY */
static StaticTask_t xIdleTaskTCBBuffer;
static StackType_t xIdleStack[configMINIMAL_STACK_SIZE];

void vApplicationGetIdleTaskMemory( StaticTask_t **ppxIdleTaskTCBBuffer, StackType_t **ppxIdleTaskStackBuffer, uint32_t *pulIdleTaskStackSize )
{
  *ppxIdleTaskTCBBuffer = &xIdleTaskTCBBuffer;
  *ppxIdleTaskStackBuffer = &xIdleStack[0];
  *pulIdleTaskStackSize = configMINIMAL_STACK_SIZE;
  /* place for user code */
}
/* USER CODE END GET_IDLE_TASK_MEMORY */

/* USER CODE BEGIN GET_TIMER_TASK_MEMORY */
static StaticTask_t xTimerTaskTCBBuffer;
static StackType_t xTimerStack[configTIMER_TASK_STACK_DEPTH];

void vApplicationGetTimerTaskMemory( StaticTask_t **ppxTimerTaskTCBBuffer, StackType_t **ppxTimerTaskStackBuffer, uint32_t *pulTimerTaskStackSize )
{
  *ppxTimerTaskTCBBuffer = &xTimerTaskTCBBuffer;
  *ppxTimerTaskStackBuffer = &xTimerStack[0];
  *pulTimerTaskStackSize = configTIMER_TASK_STACK_DEPTH;
  /* place for user code */
}
/* USER CODE END GET_TIMER_TASK_MEMORY */
